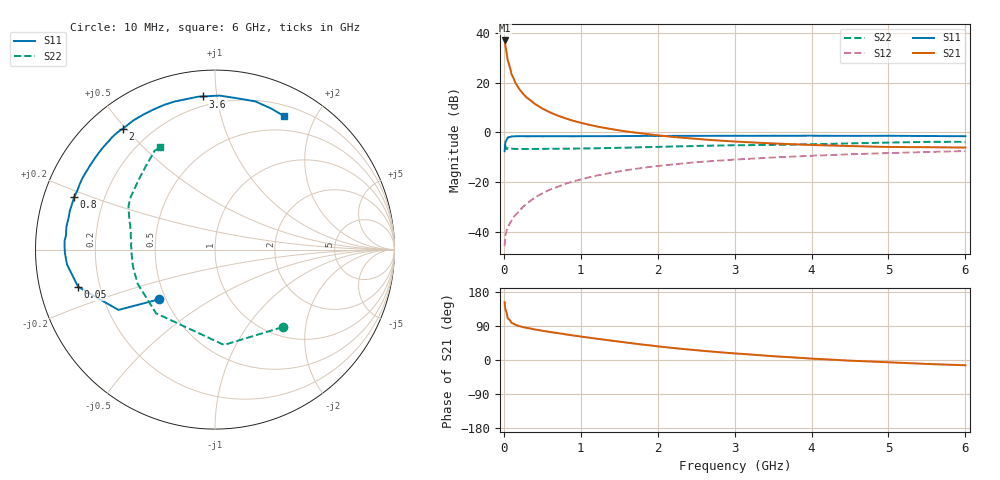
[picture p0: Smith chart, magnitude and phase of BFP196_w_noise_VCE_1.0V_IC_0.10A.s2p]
! (c) 2017  Infineon Technologies AG, Munich
! Infineon Technologies  Discrete & RF Semiconductors
! BFP196
! VCE =  1.0 V,  IC = 0.10 A
! Common Emitter S-Parameters:  Jan 2017
# GHz  S  MA  R  50
!  f  S11  S21  S12  S22
! GHz  MAG  ANG  MAG  ANG  MAG  ANG  MAG  ANG
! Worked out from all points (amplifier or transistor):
!   77 points, 10 MHz to 6 GHz, reference 50 ohm
!   highest |S21| = 36.9 dB at 10 MHz (marker M1)
!   |S21| within 3 dB of that: start of sweep to 25.5 MHz
!   unconditionally stable (mu >= 1): 196.3 MHz to end of sweep
!   at 130 MHz: K = 0.89, MSG = 27.7 dB, |S12| = -34.0 dB
!   at 2.2 GHz: K = 1.05, MAG = 4.2 dB, |S12| = -12.9 dB
!   at 6 GHz: K = 1.04, MAG = -0.5 dB, |S12| = -7.5 dB
!   lowest NFmin = 2.04 dB at 450 MHz
!   S11 on the Smith chart (normalised r, x): 10 MHz: 0.46, -0.31; 50 MHz: 0.12, -0.13; 800 MHz: 0.09, +0.18; 2 GHz: 0.10, +0.49; 3.6 GHz: 0.14, +0.91; 6 GHz: 0.32, +1.59
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0.01  0.4189 -138.5  69.99 152.4  0.0052 64.9  0.5731 -48.9
0.02  0.6342 -148.0  55.11 133.7  0.0085 50.0  0.5335 -84.6
0.05  0.7903 -164.8  27.97 109.8  0.0124 47.6  0.4834 -132.8
0.1  0.8284 -174.2  14.7 98.0  0.0169 55.2  0.471 -156.0
0.15  0.836 -178.4  9.904 93.1  0.0219 59.9  0.4663 -164.6
0.2  0.8383 179.0  7.445 89.5  0.0265 64.1  0.4664 -169.5
0.25  0.8394 176.6  5.959 86.8  0.0321 66.3  0.4651 -172.5
0.3  0.8341 174.7  4.973 84.6  0.0373 67.8  0.4644 -175.0
0.4  0.8377 171.2  3.751 80.6  0.0486 69.8  0.4655 -178.1
0.5  0.8347 168.0  3.008 77.2  0.0597 69.3  0.4658 179.4
0.6  0.8369 165.1  2.524 73.9  0.071 68.9  0.4691 177.3
0.8  0.837 159.5  1.916 67.7  0.093 67.5  0.4703 173.9
0.9  0.8346 156.7  1.712 64.8  0.1032 66.4  0.4723 172.5
1.1  0.8391 151.3  1.432 59.2  0.1246 63.6  0.4772 169.6
1.5  0.8425 140.5  1.096 48.5  0.165 57.7  0.4904 164.4
2  0.8472 127.3  0.874 36.0  0.211 49.5  0.5113 159.2
2.1  0.8485 124.7  0.842 33.9  0.219 47.9  0.5162 158.1
3.1  0.8539 103.4  0.643 16.0  0.2899 32.7  0.5535 147.9
3.6  0.856 94.6  0.591 8.8  0.3181 26.1  0.5646 141.8
4.1  0.8561 86.9  0.554 2.6  0.3438 19.8  0.5824 135.4
5.1  0.8529 73.5  0.509 -6.9  0.3882 7.9  0.6282 124.4
6  0.8374 62.8  0.496 -13.9  0.422 -2.0  0.6468 118.0
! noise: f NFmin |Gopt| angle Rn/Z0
0.45  2.04  0.54  -169  0.07
0.9  2.24  0.56  -156  0.12
1.9  3.18  0.71  -128  0.52
2.4  3.65  0.7  -115  1.08
